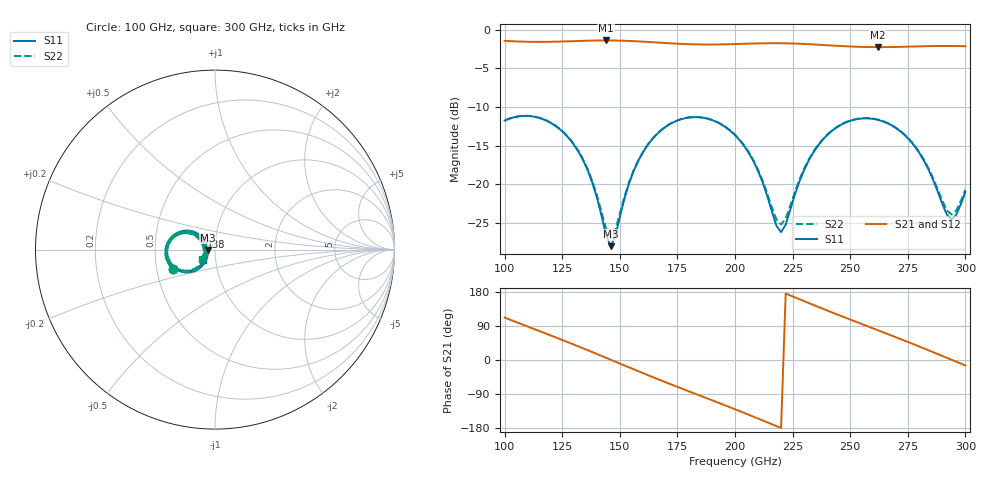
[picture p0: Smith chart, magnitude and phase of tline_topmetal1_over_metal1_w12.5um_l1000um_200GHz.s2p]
#  GHZ S DB R 50
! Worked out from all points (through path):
!   101 points, 100 GHz to 300 GHz, reference 50 ohm
!   highest |S21| = -1.37 dB at 144 GHz (marker M1); lowest = -2.2 dB at 262 GHz (marker M2)
!   group delay of S21, straight-line fit = 6.76 ps
!   lowest |S11| = -28.1 dB at 146 GHz (marker M3), VSWR 1.08, Z = 46.2 - j0.151 ohm
!   |S11| at or under -10 dB: start of sweep to end of sweep
!   |S22| runs from -27.0 to -11.1 dB; largest |S21 - S12| = 9.7e-14
!   S11 on the Smith chart (normalised r, x): 100 GHz: 0.61, -0.14; 138 GHz: 0.85, +0.12; 300 GHz: 0.86, -0.10
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100  -11.77 -155.8  -1.42 112.0  -1.42 112.0  -11.75 -155.5
108  -11.16 -172.6  -1.52 93.1  -1.52 93.1  -11.15 -172.0
116  -11.51 170.9  -1.55 74.3  -1.55 74.3  -11.49 171.8
126  -13.44 151.2  -1.50 50.5  -1.50 50.5  -13.39 152.5
134  -16.86 138.3  -1.42 30.9  -1.42 30.9  -16.75 140.3
138  -19.74 135.6  -1.39 21.0  -1.39 21.0  -19.55 138.2
144  -26.57 156.3  -1.37 5.9  -1.37 5.9  -25.78 159.4
146  -28.05 -177.6  -1.37 0.8  -1.37 0.8  -27.01 -177.5
156  -18.32 -128.4  -1.46 -24.5  -1.46 -24.5  -18.22 -130.1
168  -13.00 -146.6  -1.67 -54.1  -1.67 -54.1  -12.97 -147.1
176  -11.64 -162.2  -1.80 -73.2  -1.80 -73.2  -11.62 -162.2
184  -11.33 -178.0  -1.88 -92.1  -1.88 -92.1  -11.30 -177.7
200  -13.64 151.9  -1.84 -130.0  -1.84 -130.0  -13.60 153.0
208  -17.03 141.0  -1.77 -149.5  -1.77 -149.5  -16.91 142.9
220  -26.23 -175.3  -1.73 -179.5  -1.73 -179.5  -25.26 -175.2
234  -15.90 -136.1  -1.88 145.4  -1.88 145.4  -15.80 -137.7
248  -12.02 -159.3  -2.12 111.5  -2.12 111.5  -11.98 -159.9
262  -11.66 174.5  -2.23 78.6  -2.23 78.6  -11.63 174.5
268  -12.38 163.7  -2.22 64.4  -2.22 64.4  -12.35 163.9
280  -15.95 146.0  -2.13 35.5  -2.13 35.5  -15.87 147.0
294  -24.58 -176.9  -2.09 0.6  -2.09 0.6  -23.94 -177.1
300  -21.02 -141.6  -2.12 -14.4  -2.12 -14.4  -20.73 -143.8
